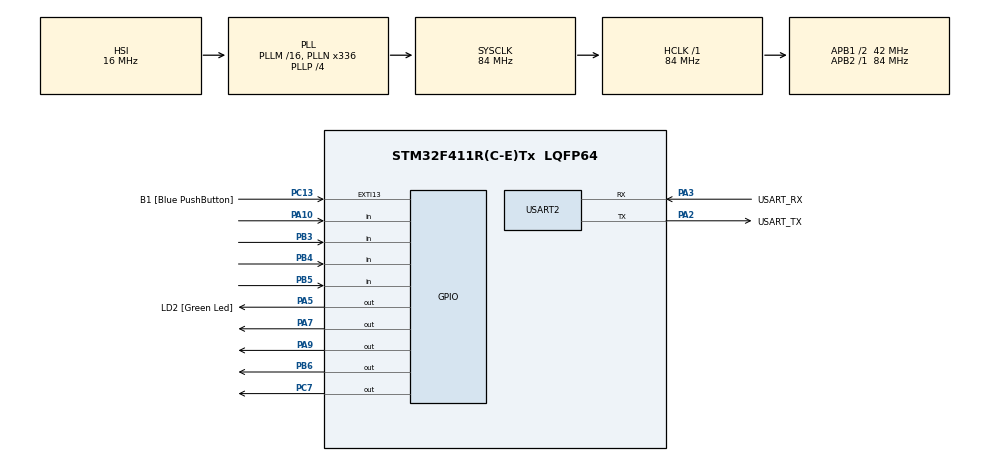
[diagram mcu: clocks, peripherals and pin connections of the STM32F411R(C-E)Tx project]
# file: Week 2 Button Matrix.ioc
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Mcu.Family=STM32F4
Mcu.Name=STM32F411R(C-E)Tx
Mcu.Package=LQFP64
NVIC.PriorityGroup=NVIC_PRIORITYGROUP_0
PA10.GPIO_PuPd=GPIO_PULLUP
PA10.Signal=GPIO_Input
PA13.GPIO_Label=TMS
PA13.Mode=Serial_Wire
PA13.Signal=SYS_JTMS-SWDIO
PA14.GPIO_Label=TCK
PA14.Mode=Serial_Wire
PA14.Signal=SYS_JTCK-SWCLK
PA2.GPIO_Label=USART_TX
PA2.Mode=Asynchronous
PA2.Signal=USART2_TX
PA3.GPIO_Label=USART_RX
PA3.Mode=Asynchronous
PA3.Signal=USART2_RX
PA5.GPIO_Label=LD2 [Green Led]
PA5.Signal=GPIO_Output
PA7.GPIO_ModeDefaultOutputPP=GPIO_MODE_OUTPUT_OD
PA7.PinState=GPIO_PIN_SET
PA7.Signal=GPIO_Output
PA9.GPIO_ModeDefaultOutputPP=GPIO_MODE_OUTPUT_OD
PA9.PinState=GPIO_PIN_SET
PA9.Signal=GPIO_Output
PB3.GPIO_PuPd=GPIO_PULLUP
PB3.Signal=GPIO_Input
PB4.GPIO_PuPd=GPIO_PULLUP
PB4.Signal=GPIO_Input
PB5.GPIO_PuPd=GPIO_PULLUP
PB5.Signal=GPIO_Input
PB6.GPIO_ModeDefaultOutputPP=GPIO_MODE_OUTPUT_OD
PB6.PinState=GPIO_PIN_SET
PB6.Signal=GPIO_Output
PC13-ANTI_TAMP.GPIO_Label=B1 [Blue PushButton]
PC13-ANTI_TAMP.GPIO_ModeDefaultEXTI=GPIO_MODE_IT_FALLING
PC13-ANTI_TAMP.Signal=GPXTI13
PC14-OSC32_IN.Mode=LSE-External-Oscillator
PC14-OSC32_IN.Signal=RCC_OSC32_IN
PC15-OSC32_OUT.Mode=LSE-External-Oscillator
PC15-OSC32_OUT.Signal=RCC_OSC32_OUT
PC7.GPIO_ModeDefaultOutputPP=GPIO_MODE_OUTPUT_OD
PC7.PinState=GPIO_PIN_SET
PC7.Signal=GPIO_Output
PH0\ -\ OSC_IN.Mode=HSE-External-Clock-Source
PH0\ -\ OSC_IN.Signal=RCC_OSC_IN
PH1\ -\ OSC_OUT.Mode=HSE-External-Clock-Source
PH1\ -\ OSC_OUT.Signal=RCC_OSC_OUT
ProjectManager.HeapSize=0x200
ProjectManager.StackSize=0x400
ProjectManager.TargetToolchain=STM32CubeIDE
RCC.48MHZClocksFreq_Value=84000000
RCC.AHBFreq_Value=84000000
RCC.APB1CLKDivider=RCC_HCLK_DIV2
RCC.APB1Freq_Value=42000000
RCC.APB1TimFreq_Value=84000000
RCC.APB2Freq_Value=84000000
RCC.APB2TimFreq_Value=84000000
RCC.CortexFreq_Value=84000000
RCC.FLatency-AdvancedSettings=FLASH_LATENCY_2
RCC.HCLKFreq_Value=84000000
RCC.HSE_VALUE=8000000
RCC.HSI_VALUE=16000000
RCC.PLLN=336
RCC.PLLP=RCC_PLLP_DIV4
RCC.SYSCLKFreq_VALUE=84000000
RCC.SYSCLKSource=RCC_SYSCLKSOURCE_PLLCLK
RCC.VCOOutputFreq_Value=336000000
USART2.VirtualMode=VM_ASYNC
board=NUCLEO-F411RE

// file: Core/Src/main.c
/* USER CODE BEGIN Header */
/**
  ******************************************************************************
  * @file           : main.c
  * @brief          : Main program body
  ******************************************************************************
  * @attention
  *
  * <h2><center>&copy; Copyright (c) 2021 STMicroelectronics.
  * All rights reserved.</center></h2>
  *
  * This software component is licensed by ST under BSD 3-Clause license,
  * the "License"; You may not use this file except in compliance with the
  * License. You may obtain a copy of the License at:
  *                        opensource.org/licenses/BSD-3-Clause
  *
  ******************************************************************************
  */
/* USER CODE END Header */
#include "main.h"

UART_HandleTypeDef huart2;

/* USER CODE BEGIN PV */
// save status of Button Matrix
uint16_t ButtonMatrixState = 0;

//Button TimeStamp
uint32_t ButtonMatrixTimeStamp = 0;
/* USER CODE END PV */

void SystemClock_Config(void);
static void MX_GPIO_Init(void);
static void MX_USART2_UART_Init(void);
/* USER CODE BEGIN PFP */
//scan and update data of Button Matrix
void ButtonMatrixUpdate();
/* USER CODE END PFP */

int main(void)
{

  /* MCU Configuration--------------------------------------------------------*/

  /* Reset of all peripherals, Initializes the Flash interface and the Systick. */
  HAL_Init();

  /* Configure the system clock */
  SystemClock_Config();

  /* Initialize all configured peripherals */
  MX_GPIO_Init();
  MX_USART2_UART_Init();

  /* Infinite loop */
  while (1)
  {

    /* USER CODE BEGIN 3 */
	  ButtonMatrixUpdate();
  }
  /* USER CODE END 3 */
}

void SystemClock_Config(void)
{
  RCC_OscInitTypeDef RCC_OscInitStruct = {0};
  RCC_ClkInitTypeDef RCC_ClkInitStruct = {0};

  /** Configure the main internal regulator output voltage
  */
  __HAL_RCC_PWR_CLK_ENABLE();
  __HAL_PWR_VOLTAGESCALING_CONFIG(PWR_REGULATOR_VOLTAGE_SCALE1);
  /** Initializes the RCC Oscillators according to the specified parameters
  * in the RCC_OscInitTypeDef structure.
  */
  RCC_OscInitStruct.OscillatorType = RCC_OSCILLATORTYPE_HSI;
  RCC_OscInitStruct.HSIState = RCC_HSI_ON;
  RCC_OscInitStruct.HSICalibrationValue = RCC_HSICALIBRATION_DEFAULT;
  RCC_OscInitStruct.PLL.PLLState = RCC_PLL_ON;
  RCC_OscInitStruct.PLL.PLLSource = RCC_PLLSOURCE_HSI;
  RCC_OscInitStruct.PLL.PLLM = 16;
  RCC_OscInitStruct.PLL.PLLN = 336;
  RCC_OscInitStruct.PLL.PLLP = RCC_PLLP_DIV4;
  RCC_OscInitStruct.PLL.PLLQ = 4;
  if (HAL_RCC_OscConfig(&RCC_OscInitStruct) != HAL_OK)
  {
    Error_Handler();
  }
  /** Initializes the CPU, AHB and APB buses clocks
  */
  RCC_ClkInitStruct.ClockType = RCC_CLOCKTYPE_HCLK|RCC_CLOCKTYPE_SYSCLK
                              |RCC_CLOCKTYPE_PCLK1|RCC_CLOCKTYPE_PCLK2;
  RCC_ClkInitStruct.SYSCLKSource = RCC_SYSCLKSOURCE_PLLCLK;
  RCC_ClkInitStruct.AHBCLKDivider = RCC_SYSCLK_DIV1;
  RCC_ClkInitStruct.APB1CLKDivider = RCC_HCLK_DIV2;
  RCC_ClkInitStruct.APB2CLKDivider = RCC_HCLK_DIV1;

  if (HAL_RCC_ClockConfig(&RCC_ClkInitStruct, FLASH_LATENCY_2) != HAL_OK)
  {
    Error_Handler();
  }
}

static void MX_USART2_UART_Init(void)
{

  huart2.Instance = USART2;
  huart2.Init.BaudRate = 115200;
  huart2.Init.WordLength = UART_WORDLENGTH_8B;
  huart2.Init.StopBits = UART_STOPBITS_1;
  huart2.Init.Parity = UART_PARITY_NONE;
  huart2.Init.Mode = UART_MODE_TX_RX;
  huart2.Init.HwFlowCtl = UART_HWCONTROL_NONE;
  huart2.Init.OverSampling = UART_OVERSAMPLING_16;
  if (HAL_UART_Init(&huart2) != HAL_OK)
  {
    Error_Handler();
  }

}

static void MX_GPIO_Init(void)
{
  GPIO_InitTypeDef GPIO_InitStruct = {0};

  /* GPIO Ports Clock Enable */
  __HAL_RCC_GPIOC_CLK_ENABLE();
  __HAL_RCC_GPIOH_CLK_ENABLE();
  __HAL_RCC_GPIOA_CLK_ENABLE();
  __HAL_RCC_GPIOB_CLK_ENABLE();

  /*Configure GPIO pin Output Level */
  HAL_GPIO_WritePin(LD2_GPIO_Port, LD2_Pin, GPIO_PIN_RESET);

  /*Configure GPIO pin Output Level */
  HAL_GPIO_WritePin(GPIOA, GPIO_PIN_7|GPIO_PIN_9, GPIO_PIN_SET);

  /*Configure GPIO pin Output Level */
  HAL_GPIO_WritePin(GPIOC, GPIO_PIN_7, GPIO_PIN_SET);

  /*Configure GPIO pin Output Level */
  HAL_GPIO_WritePin(GPIOB, GPIO_PIN_6, GPIO_PIN_SET);

  /*Configure GPIO pin : B1_Pin */
  GPIO_InitStruct.Pin = B1_Pin;
  GPIO_InitStruct.Mode = GPIO_MODE_IT_FALLING;
  GPIO_InitStruct.Pull = GPIO_NOPULL;
  HAL_GPIO_Init(B1_GPIO_Port, &GPIO_InitStruct);

  /*Configure GPIO pin : LD2_Pin */
  GPIO_InitStruct.Pin = LD2_Pin;
  GPIO_InitStruct.Mode = GPIO_MODE_OUTPUT_PP;
  GPIO_InitStruct.Pull = GPIO_NOPULL;
  GPIO_InitStruct.Speed = GPIO_SPEED_FREQ_LOW;
  HAL_GPIO_Init(LD2_GPIO_Port, &GPIO_InitStruct);

  /*Configure GPIO pins : PA7 PA9 */
  GPIO_InitStruct.Pin = GPIO_PIN_7|GPIO_PIN_9;
  GPIO_InitStruct.Mode = GPIO_MODE_OUTPUT_OD;
  GPIO_InitStruct.Pull = GPIO_NOPULL;
  GPIO_InitStruct.Speed = GPIO_SPEED_FREQ_LOW;
  HAL_GPIO_Init(GPIOA, &GPIO_InitStruct);

  /*Configure GPIO pin : PC7 */
  GPIO_InitStruct.Pin = GPIO_PIN_7;
  GPIO_InitStruct.Mode = GPIO_MODE_OUTPUT_OD;
  GPIO_InitStruct.Pull = GPIO_NOPULL;
  GPIO_InitStruct.Speed = GPIO_SPEED_FREQ_LOW;
  HAL_GPIO_Init(GPIOC, &GPIO_InitStruct);

  /*Configure GPIO pin : PA10 */
  GPIO_InitStruct.Pin = GPIO_PIN_10;
  GPIO_InitStruct.Mode = GPIO_MODE_INPUT;
  GPIO_InitStruct.Pull = GPIO_PULLUP;
  HAL_GPIO_Init(GPIOA, &GPIO_InitStruct);

  /*Configure GPIO pins : PB3 PB4 PB5 */
  GPIO_InitStruct.Pin = GPIO_PIN_3|GPIO_PIN_4|GPIO_PIN_5;
  GPIO_InitStruct.Mode = GPIO_MODE_INPUT;
  GPIO_InitStruct.Pull = GPIO_PULLUP;
  HAL_GPIO_Init(GPIOB, &GPIO_InitStruct);

  /*Configure GPIO pin : PB6 */
  GPIO_InitStruct.Pin = GPIO_PIN_6;
  GPIO_InitStruct.Mode = GPIO_MODE_OUTPUT_OD;
  GPIO_InitStruct.Pull = GPIO_NOPULL;
  GPIO_InitStruct.Speed = GPIO_SPEED_FREQ_LOW;
  HAL_GPIO_Init(GPIOB, &GPIO_InitStruct);

}

/* USER CODE BEGIN 4 */
//port/pin array , 0-3 input , 4-7 output
GPIO_TypeDef *ButtonMatrixPort[8] = {GPIOA,GPIOB,GPIOB,GPIOB,GPIOA,GPIOC,GPIOB,GPIOA};
uint16_t ButtonMatrixPin[8] = {GPIO_PIN_10,GPIO_PIN_3,GPIO_PIN_5,GPIO_PIN_4,GPIO_PIN_9,GPIO_PIN_7,GPIO_PIN_6,GPIO_PIN_7};
uint8_t ButtonMatrixRow = 0;	//What ROW now
void ButtonMatrixUpdate()
{
	if(HAL_GetTick() - ButtonMatrixTimeStamp >= 100)
	{
		ButtonMatrixTimeStamp = HAL_GetTick();
		int i;
		for(i = 0; i < 4; i++)	//0-3
		{
			GPIO_PinState PinState = HAL_GPIO_ReadPin(ButtonMatrixPort[i], ButtonMatrixPin[i]);
			if(PinState == GPIO_PIN_RESET) // Button Press
			{
				ButtonMatrixState |= (uint16_t)0x1 << (i + ButtonMatrixRow * 4);	// 0x1 == 1  : ButtonMatrixState = (uint16_t)1 <<i;
																					//0b000 | 0b1000
			}
			else
			{
				ButtonMatrixState &= ~((uint16_t)0x1 << (i + ButtonMatrixRow * 4));	//0b000 & ~(0b1000)
			}
		}
		uint8_t NowOutputPin = ButtonMatrixRow + 4;
		//Set Rn
		HAL_GPIO_WritePin(ButtonMatrixPort[NowOutputPin], ButtonMatrixPin[NowOutputPin], GPIO_PIN_SET);
		//Update New ROW
		ButtonMatrixRow = (ButtonMatrixRow + 1) % 4;
		uint8_t NextOutputPin = ButtonMatrixRow + 4;
		//Reset Rn + 1
		HAL_GPIO_WritePin(ButtonMatrixPort[NextOutputPin], ButtonMatrixPin[NextOutputPin], GPIO_PIN_RESET);
	}
}
/* USER CODE END 4 */

void Error_Handler(void)
{
  __disable_irq();
  while (1)
  {
  }
}

/************************ (C) COPYRIGHT STMicroelectronics *****END OF FILE****/
